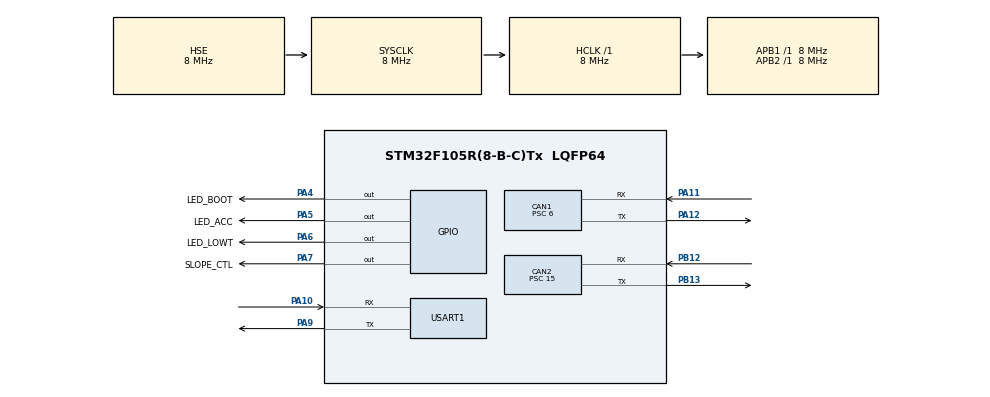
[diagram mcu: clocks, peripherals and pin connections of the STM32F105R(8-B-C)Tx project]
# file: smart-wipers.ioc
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Mcu.Family=STM32F1
NVIC.CAN2_RX0_IRQn=true\:0\:0\:false\:false\:true\:true\:true
CAN2.CalculateTimeBit=30000.00
PA11.Mode=CAN_Activate
PA7.GPIO_ModeDefaultOutputPP=GPIO_MODE_OUTPUT_OD
PA6.GPIO_Label=LED_LOWT
PB13.Signal=CAN2_TX
PA5.PinState=GPIO_PIN_SET
RCC.SYSCLKSource=RCC_SYSCLKSOURCE_HSE
ProjectManager.StackSize=0x400
PD1-OSC_OUT.Signal=RCC_OSC_OUT
PA12.Signal=CAN1_TX
PA7.PinState=GPIO_PIN_RESET
RCC.HCLKFreq_Value=8000000
RCC.APB2TimFreq_Value=8000000
RCC.AHBFreq_Value=8000000
PA14.Mode=Serial_Wire
CAN2.Prescaler=15
NVIC.TIM2_IRQn=true\:0\:0\:false\:false\:true\:true\:true
CAN1.Prescaler=6
Mcu.Package=LQFP64
TIM2.Prescaler=7999
PA6.Signal=GPIO_Output
PB12.Mode=CAN_Activate
CAN2.BS1=CAN_BS1_13TQ
CAN2.BS2=CAN_BS2_2TQ
PA10.Signal=USART1_RX
PA4.GPIO_ModeDefaultOutputPP=GPIO_MODE_OUTPUT_OD
PA6.GPIO_ModeDefaultOutputPP=GPIO_MODE_OUTPUT_OD
RCC.APB1TimFreq_Value=8000000
PB13.Mode=CAN_Activate
CAN1.CalculateTimeBit=10500.00
PA4.GPIO_Label=LED_BOOT
CAN1.CalculateTimeQuantum=750.0
RCC.PLLSourceVirtual=RCC_PLLSOURCE_HSE
CAN2.CalculateBaudRate=33333
PD1-OSC_OUT.Mode=HSE-External-Oscillator
PA10.Mode=Asynchronous
CAN2.SJW=CAN_SJW_4TQ
CAN1.CalculateBaudRate=95238
PA6.PinState=GPIO_PIN_SET
PD0-OSC_IN.Signal=RCC_OSC_IN
PA13.Signal=SYS_JTMS-SWDIO
PA9.Mode=Asynchronous
CAN1.BS2=CAN_BS2_3TQ
PA4.PinState=GPIO_PIN_SET
CAN1.BS1=CAN_BS1_10TQ
ProjectManager.TargetToolchain=STM32CubeIDE
PA9.Signal=USART1_TX
RCC.USBFreq_Value=21333333.333333332
PD0-OSC_IN.Mode=HSE-External-Oscillator
PA5.Signal=GPIO_Output
board=custom
RCC.APB2Freq_Value=8000000
PA5.GPIO_ModeDefaultOutputPP=GPIO_MODE_OUTPUT_OD
VP_TIM2_VS_ClockSourceINT.Mode=Internal
CAN1.Mode=CAN_MODE_SILENT
CAN2.Mode=CAN_MODE_NORMAL
CAN2.CalculateTimeQuantum=1875.0
TIM2.Period=7999
PA13.Mode=Serial_Wire
Mcu.Name=STM32F105R(8-B-C)Tx
CAN1.SJW=CAN_SJW_4TQ
PA4.Signal=GPIO_Output
RCC.SYSCLKFreq_VALUE=8000000
PA7.GPIO_Label=SLOPE_CTL
PA12.Mode=CAN_Activate
PA5.GPIO_Label=LED_ACC
USART1.VirtualMode=VM_ASYNC
PA11.Signal=CAN1_RX
PA14.Signal=SYS_JTCK-SWCLK
ProjectManager.HeapSize=0x200
NVIC.PriorityGroup=NVIC_PRIORITYGROUP_4
RCC.APB1Freq_Value=8000000
PB12.Signal=CAN2_RX
NVIC.CAN1_RX0_IRQn=true\:0\:0\:false\:false\:true\:true\:true
PA7.Signal=GPIO_Output

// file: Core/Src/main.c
/* USER CODE BEGIN Header */
/**
  ******************************************************************************
  * @file           : main.c
  * @brief          : Main program body
  ******************************************************************************
  * @attention
  *
  * <h2><center>&copy; Copyright (c) 2021 STMicroelectronics.
  * All rights reserved.</center></h2>
  *
  * This software component is licensed by ST under BSD 3-Clause license,
  * the "License"; You may not use this file except in compliance with the
  * License. You may obtain a copy of the License at:
  *                        opensource.org/licenses/BSD-3-Clause
  *
  ******************************************************************************
  */
/* USER CODE END Header */
#include "main.h"
#include "can.h"
#include "tim.h"
#include "usart.h"
#include "gpio.h"

/* USER CODE BEGIN Includes */
#include "vehicle_wipers.h"
#include "vehicle_util.h"
#include <string.h>
/* USER CODE END Includes */

/* USER CODE BEGIN PV */
char *banner = "\n\n\nCarMod "
    VERSION
    " ready\nBuild date: "
    __DATE__
    "\n\n";
/* USER CODE END PV */

void SystemClock_Config(void);

int main(void)
{

  /* MCU Configuration--------------------------------------------------------*/

  /* Reset of all peripherals, Initializes the Flash interface and the Systick. */
  HAL_Init();

  /* Configure the system clock */
  SystemClock_Config();

  /* Initialize all configured peripherals */
  MX_GPIO_Init();
  MX_CAN1_Init();
  MX_CAN2_Init();
  MX_USART1_UART_Init();
  MX_TIM2_Init();
  /* USER CODE BEGIN 2 */
  HAL_GPIO_WritePin(LED_BOOT_GPIO_Port, LED_BOOT_Pin, GPIO_PIN_RESET);
#ifdef DEBUG_REPORT_VEHICLE_STATE
  HAL_UART_Transmit(&huart1, (uint8_t *)banner, strlen(banner), 100);
  HAL_TIM_Base_Start_IT(&htim2);
#endif
  CAN_Init_Filter();
  /* USER CODE END 2 */

  /* Infinite loop */
  /* USER CODE BEGIN WHILE */
  while (1)
  {
    park_wipers_if_needed();
    /* USER CODE END WHILE */

  }
}

void SystemClock_Config(void)
{
  RCC_OscInitTypeDef RCC_OscInitStruct = {0};
  RCC_ClkInitTypeDef RCC_ClkInitStruct = {0};

  /** Initializes the RCC Oscillators according to the specified parameters
  * in the RCC_OscInitTypeDef structure.
  */
  RCC_OscInitStruct.OscillatorType = RCC_OSCILLATORTYPE_HSE;
  RCC_OscInitStruct.HSEState = RCC_HSE_ON;
  RCC_OscInitStruct.PLL.PLLState = RCC_PLL_NONE;
  RCC_OscInitStruct.PLL2.PLL2State = RCC_PLL_NONE;
  if (HAL_RCC_OscConfig(&RCC_OscInitStruct) != HAL_OK)
  {
    Error_Handler();
  }
  /** Initializes the CPU, AHB and APB buses clocks
  */
  RCC_ClkInitStruct.ClockType = RCC_CLOCKTYPE_HCLK|RCC_CLOCKTYPE_SYSCLK
                              |RCC_CLOCKTYPE_PCLK1|RCC_CLOCKTYPE_PCLK2;
  RCC_ClkInitStruct.SYSCLKSource = RCC_SYSCLKSOURCE_HSE;
  RCC_ClkInitStruct.AHBCLKDivider = RCC_SYSCLK_DIV1;
  RCC_ClkInitStruct.APB1CLKDivider = RCC_HCLK_DIV1;
  RCC_ClkInitStruct.APB2CLKDivider = RCC_HCLK_DIV1;

  if (HAL_RCC_ClockConfig(&RCC_ClkInitStruct, FLASH_LATENCY_0) != HAL_OK)
  {
    Error_Handler();
  }
  /** Configure the Systick interrupt time
  */
  __HAL_RCC_PLLI2S_ENABLE();
}

void Error_Handler(void)
{
  /* USER CODE BEGIN Error_Handler_Debug */
  /* User can add his own implementation to report the HAL error return state */
  // __disable_irq();
  while (1)
  {
      HAL_GPIO_WritePin(LED_BOOT_GPIO_Port, LED_BOOT_Pin, GPIO_PIN_SET);
      HAL_Delay(500);
      HAL_GPIO_WritePin(LED_BOOT_GPIO_Port, LED_BOOT_Pin, GPIO_PIN_RESET);
      HAL_Delay(500);
  }
  /* USER CODE END Error_Handler_Debug */
}

/************************ (C) COPYRIGHT STMicroelectronics *****END OF FILE****/
